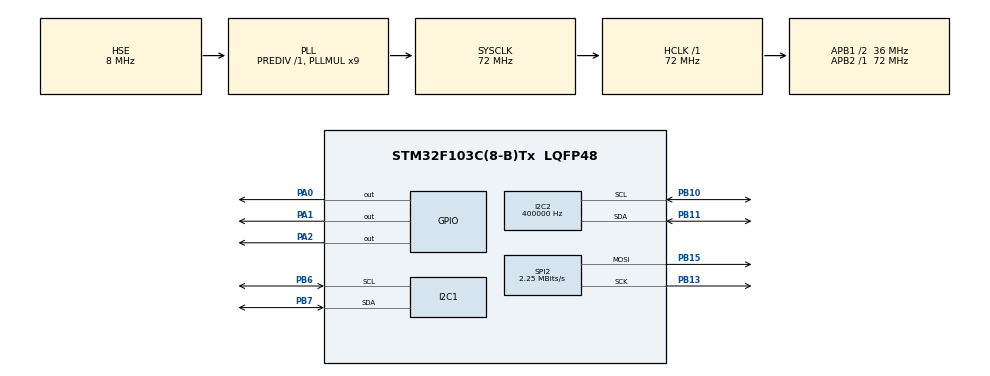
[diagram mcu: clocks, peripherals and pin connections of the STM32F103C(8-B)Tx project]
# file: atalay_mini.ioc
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Mcu.Family=STM32F1
RCC.PLLSourceVirtual=RCC_PLLSOURCE_HSE
PC15-OSC32_OUT.Mode=LSE-External-Oscillator
FREERTOS.Tasks01=Pressure_Unit,24,128,Pressure_Unit_Start,Default,NULL,Dynamic,NULL,NULL;Inertial_Unit,24,128,Inertial_Unit_Start,Default,NULL,Dynamic,NULL,NULL;Decision_Log,48,128,Decision_and_Logger,Default,NULL,Dynamic,NULL,NULL
PD1-OSC_OUT.Mode=HSE-External-Oscillator
SPI2.VirtualType=VM_MASTER
PB10.Mode=I2C
NVIC.TIM1_UP_IRQn=true\:0\:0\:false\:false\:true\:false\:false\:true
PD0-OSC_IN.Signal=RCC_OSC_IN
RCC.APB1CLKDivider=RCC_HCLK_DIV2
PC14-OSC32_IN.Signal=RCC_OSC32_IN
PB11.Signal=I2C2_SDA
PB13.Signal=SPI2_SCK
PB15.Signal=SPI2_MOSI
RCC.SYSCLKSource=RCC_SYSCLKSOURCE_PLLCLK
ProjectManager.StackSize=0x400
PA0-WKUP.Signal=GPIO_Output
VP_FREERTOS_VS_CMSIS_V2.Mode=CMSIS_V2
PD1-OSC_OUT.Signal=RCC_OSC_OUT
PA13.Signal=SYS_JTMS-SWDIO
PB11.Mode=I2C
ProjectManager.TargetToolchain=STM32CubeIDE
I2C1.I2C_Mode=I2C_Standard
RCC.HCLKFreq_Value=72000000
RCC.APB2TimFreq_Value=72000000
PB6.Signal=I2C1_SCL
PB6.Mode=I2C
RCC.USBFreq_Value=72000000
PC15-OSC32_OUT.Signal=RCC_OSC32_OUT
PA1.Signal=GPIO_Output
RCC.AHBFreq_Value=72000000
SPI2.BaudRatePrescaler=SPI_BAUDRATEPRESCALER_16
PD0-OSC_IN.Mode=HSE-External-Oscillator
PB10.Signal=I2C2_SCL
board=custom
RCC.PLLMUL=RCC_PLL_MUL9
PB15.Mode=TX_Only_Simplex_Unidirect_Master
RCC.APB2Freq_Value=72000000
PC14-OSC32_IN.Mode=LSE-External-Oscillator
PA14.Mode=Serial_Wire
VP_SYS_VS_tim1.Mode=TIM1
I2C2.ClockSpeed=400000
SPI2.CalculateBaudRate=2.25 MBits/s
PB7.Signal=I2C1_SDA
PA13.Mode=Serial_Wire
Mcu.Name=STM32F103C(8-B)Tx
PA2.Signal=GPIO_Output
RCC.SYSCLKFreq_VALUE=72000000
Mcu.Package=LQFP48
NVIC.TimeBase=TIM1_UP_IRQn
SPI2.Mode=SPI_MODE_MASTER
PB7.Mode=I2C
NVIC.TimeBaseIP=TIM1
PA14.Signal=SYS_JTCK-SWCLK
ProjectManager.HeapSize=0x200
NVIC.PriorityGroup=NVIC_PRIORITYGROUP_4
RCC.APB1TimFreq_Value=72000000
SPI2.Direction=SPI_DIRECTION_2LINES
PB13.Mode=TX_Only_Simplex_Unidirect_Master
RCC.APB1Freq_Value=36000000
I2C2.I2C_Mode=I2C_Fast

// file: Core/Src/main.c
/* USER CODE BEGIN Header */
/**
  ******************************************************************************
  * @file           : main.c
  * @brief          : Main program body
  ******************************************************************************
  * @attention
  *
  * <h2><center>&copy; Copyright (c) 2021 STMicroelectronics.
  * All rights reserved.</center></h2>
  *
  * This software component is licensed by ST under BSD 3-Clause license,
  * the "License"; You may not use this file except in compliance with the
  * License. You may obtain a copy of the License at:
  *                        opensource.org/licenses/BSD-3-Clause
  *
  ******************************************************************************
  */
/* USER CODE END Header */
#include "main.h"
#include "cmsis_os.h"

/* USER CODE BEGIN Includes */
#include "MPU9250_I2C.h"
#include "bme280.h"
/* USER CODE END Includes */

/* USER CODE BEGIN PTD */
extern I2C_HandleTypeDef hi2c1;
int8_t user_i2c_read(uint8_t dev_addr, uint8_t reg_addr, uint8_t *reg_data, uint8_t cnt);
int8_t user_i2c_write(uint8_t dev_addr, uint8_t reg_addr, uint8_t *reg_data, uint8_t cnt);
int8_t stream_sensor_data_forced_mode(struct bme280_dev *dev);
int8_t stream_sensor_data_normal_mode(struct bme280_dev *dev);
void user_delay_ms(uint32_t ms);
uint8_t humidity;
struct bme280_dev bme280;
struct bme280_data comp_data;
#define atmPress 101325
double pressure, altitude,related_altitude;
double ref_altitude;
uint8_t sendaltitude = 0;
uint8_t spi_flag = 0;
double temp_send_y_axis_acc = 0;
uint8_t send_y_axis = 0;
uint8_t sendbuff[3] = {0};
float attempt = 501;
uint8_t breakout = 0;
float i;
/* USER CODE END P TD */

/* USER CODE BEGIN PM */
double ay = 0;
/* USER CODE END PM */

I2C_HandleTypeDef hi2c1;
I2C_HandleTypeDef hi2c2;

SPI_HandleTypeDef hspi2;

/* Definitions for Pressure_Unit */
osThreadId_t Pressure_UnitHandle;
const osThreadAttr_t Pressure_Unit_attributes = {
  .name = "Pressure_Unit",
  .stack_size = 128 * 4,
  .priority = (osPriority_t) osPriorityNormal,
};
/* Definitions for Inertial_Unit */
osThreadId_t Inertial_UnitHandle;
const osThreadAttr_t Inertial_Unit_attributes = {
  .name = "Inertial_Unit",
  .stack_size = 128 * 4,
  .priority = (osPriority_t) osPriorityNormal,
};
/* Definitions for Decision_Log */
osThreadId_t Decision_LogHandle;
const osThreadAttr_t Decision_Log_attributes = {
  .name = "Decision_Log",
  .stack_size = 128 * 4,
  .priority = (osPriority_t) osPriorityRealtime,
};

void SystemClock_Config(void);
static void MX_GPIO_Init(void);
static void MX_I2C1_Init(void);
static void MX_I2C2_Init(void);
static void MX_SPI2_Init(void);
void Pressure_Unit_Start(void *argument);
void Inertial_Unit_Start(void *argument);
void Decision_and_Logger(void *argument);

int main(void)
{

  /* MCU Configuration--------------------------------------------------------*/

  /* Reset of all peripherals, Initializes the Flash interface and the Systick. */
  HAL_Init();

  /* Configure the system clock */
  SystemClock_Config();

  /* Initialize all configured peripherals */
  MX_GPIO_Init();
  MX_I2C1_Init();
  MX_I2C2_Init();
  MX_SPI2_Init();
  /* USER CODE BEGIN 2 */
  HAL_GPIO_WritePin(GPIOA, GPIO_PIN_0, GPIO_PIN_RESET);
  HAL_GPIO_WritePin(GPIOA, GPIO_PIN_1, GPIO_PIN_RESET);
  HAL_GPIO_WritePin(GPIOA, GPIO_PIN_2, GPIO_PIN_RESET);  /* USER CODE END 2 */

  /* Init scheduler */
  osKernelInitialize();

  /* Create the thread(s) */
  /* creation of Pressure_Unit */
  Pressure_UnitHandle = osThreadNew(Pressure_Unit_Start, NULL, &Pressure_Unit_attributes);

  /* creation of Inertial_Unit */
  Inertial_UnitHandle = osThreadNew(Inertial_Unit_Start, NULL, &Inertial_Unit_attributes);

  /* creation of Decision_Log */
  Decision_LogHandle = osThreadNew(Decision_and_Logger, NULL, &Decision_Log_attributes);

  /* Start scheduler */
  osKernelStart();

  /* We should never get here as control is now taken by the scheduler */
  /* Infinite loop */
  while (1)
  {

  }
}

void SystemClock_Config(void)
{
  RCC_OscInitTypeDef RCC_OscInitStruct = {0};
  RCC_ClkInitTypeDef RCC_ClkInitStruct = {0};

  /** Initializes the RCC Oscillators according to the specified parameters
  * in the RCC_OscInitTypeDef structure.
  */
  RCC_OscInitStruct.OscillatorType = RCC_OSCILLATORTYPE_HSE;
  RCC_OscInitStruct.HSEState = RCC_HSE_ON;
  RCC_OscInitStruct.HSEPredivValue = RCC_HSE_PREDIV_DIV1;
  RCC_OscInitStruct.HSIState = RCC_HSI_ON;
  RCC_OscInitStruct.PLL.PLLState = RCC_PLL_ON;
  RCC_OscInitStruct.PLL.PLLSource = RCC_PLLSOURCE_HSE;
  RCC_OscInitStruct.PLL.PLLMUL = RCC_PLL_MUL9;
  if (HAL_RCC_OscConfig(&RCC_OscInitStruct) != HAL_OK)
  {
    Error_Handler();
  }
  /** Initializes the CPU, AHB and APB buses clocks
  */
  RCC_ClkInitStruct.ClockType = RCC_CLOCKTYPE_HCLK|RCC_CLOCKTYPE_SYSCLK
                              |RCC_CLOCKTYPE_PCLK1|RCC_CLOCKTYPE_PCLK2;
  RCC_ClkInitStruct.SYSCLKSource = RCC_SYSCLKSOURCE_PLLCLK;
  RCC_ClkInitStruct.AHBCLKDivider = RCC_SYSCLK_DIV1;
  RCC_ClkInitStruct.APB1CLKDivider = RCC_HCLK_DIV2;
  RCC_ClkInitStruct.APB2CLKDivider = RCC_HCLK_DIV1;

  if (HAL_RCC_ClockConfig(&RCC_ClkInitStruct, FLASH_LATENCY_2) != HAL_OK)
  {
    Error_Handler();
  }
}

static void MX_I2C1_Init(void)
{

  hi2c1.Instance = I2C1;
  hi2c1.Init.ClockSpeed = 100000;
  hi2c1.Init.DutyCycle = I2C_DUTYCYCLE_2;
  hi2c1.Init.OwnAddress1 = 0;
  hi2c1.Init.AddressingMode = I2C_ADDRESSINGMODE_7BIT;
  hi2c1.Init.DualAddressMode = I2C_DUALADDRESS_DISABLE;
  hi2c1.Init.OwnAddress2 = 0;
  hi2c1.Init.GeneralCallMode = I2C_GENERALCALL_DISABLE;
  hi2c1.Init.NoStretchMode = I2C_NOSTRETCH_DISABLE;
  if (HAL_I2C_Init(&hi2c1) != HAL_OK)
  {
    Error_Handler();
  }

}

static void MX_I2C2_Init(void)
{

  hi2c2.Instance = I2C2;
  hi2c2.Init.ClockSpeed = 400000;
  hi2c2.Init.DutyCycle = I2C_DUTYCYCLE_2;
  hi2c2.Init.OwnAddress1 = 0;
  hi2c2.Init.AddressingMode = I2C_ADDRESSINGMODE_7BIT;
  hi2c2.Init.DualAddressMode = I2C_DUALADDRESS_DISABLE;
  hi2c2.Init.OwnAddress2 = 0;
  hi2c2.Init.GeneralCallMode = I2C_GENERALCALL_DISABLE;
  hi2c2.Init.NoStretchMode = I2C_NOSTRETCH_DISABLE;
  if (HAL_I2C_Init(&hi2c2) != HAL_OK)
  {
    Error_Handler();
  }

}

static void MX_SPI2_Init(void)
{

  /* SPI2 parameter configuration*/
  hspi2.Instance = SPI2;
  hspi2.Init.Mode = SPI_MODE_MASTER;
  hspi2.Init.Direction = SPI_DIRECTION_2LINES;
  hspi2.Init.DataSize = SPI_DATASIZE_8BIT;
  hspi2.Init.CLKPolarity = SPI_POLARITY_LOW;
  hspi2.Init.CLKPhase = SPI_PHASE_1EDGE;
  hspi2.Init.NSS = SPI_NSS_SOFT;
  hspi2.Init.BaudRatePrescaler = SPI_BAUDRATEPRESCALER_16;
  hspi2.Init.FirstBit = SPI_FIRSTBIT_MSB;
  hspi2.Init.TIMode = SPI_TIMODE_DISABLE;
  hspi2.Init.CRCCalculation = SPI_CRCCALCULATION_DISABLE;
  hspi2.Init.CRCPolynomial = 10;
  if (HAL_SPI_Init(&hspi2) != HAL_OK)
  {
    Error_Handler();
  }

}

static void MX_GPIO_Init(void)
{
  GPIO_InitTypeDef GPIO_InitStruct = {0};

  /* GPIO Ports Clock Enable */
  __HAL_RCC_GPIOC_CLK_ENABLE();
  __HAL_RCC_GPIOD_CLK_ENABLE();
  __HAL_RCC_GPIOA_CLK_ENABLE();
  __HAL_RCC_GPIOB_CLK_ENABLE();

  /*Configure GPIO pin Output Level */
  HAL_GPIO_WritePin(GPIOA, GPIO_PIN_0|GPIO_PIN_1|GPIO_PIN_2, GPIO_PIN_RESET);

  /*Configure GPIO pins : PA0 PA1 PA2 */
  GPIO_InitStruct.Pin = GPIO_PIN_0|GPIO_PIN_1|GPIO_PIN_2;
  GPIO_InitStruct.Mode = GPIO_MODE_OUTPUT_PP;
  GPIO_InitStruct.Pull = GPIO_NOPULL;
  GPIO_InitStruct.Speed = GPIO_SPEED_FREQ_LOW;
  HAL_GPIO_Init(GPIOA, &GPIO_InitStruct);

}

/* USER CODE BEGIN 4 */

void my_print_readings(void)
{
int8_t rslt = BME280_OK;
bme280.dev_id = BME280_I2C_ADDR_SEC;
bme280.intf = BME280_I2C_INTF;
bme280.read = (void *)user_i2c_read;
bme280.write = (void *)user_i2c_write;
bme280.delay_ms = (void *)user_delay_ms;
rslt = bme280_init(&bme280);
printf("init result %d\r\n", rslt);

printf("starting readings.\r\n");
stream_sensor_data_forced_mode(&bme280);
}

void print_sensor_data(struct bme280_data *comp_data)
{
  #ifdef BME280_FLOAT_ENABLE

  #else

  #endif
}

int8_t stream_sensor_data_forced_mode(struct bme280_dev *dev)
{
int8_t rslt;
uint8_t settings_sel;

dev->settings.osr_h = BME280_OVERSAMPLING_2X;
dev->settings.osr_p = BME280_OVERSAMPLING_4X;
dev->settings.osr_t = BME280_OVERSAMPLING_4X;
dev->settings.filter = BME280_FILTER_COEFF_2;

settings_sel = BME280_OSR_PRESS_SEL | BME280_OSR_TEMP_SEL | BME280_OSR_HUM_SEL | BME280_FILTER_SEL;

rslt = bme280_set_sensor_settings(settings_sel, dev);

/* Continuously stream sensor data */

  rslt = bme280_set_sensor_mode(BME280_FORCED_MODE, dev);
  /* Wait for the measurement to complete and print data @25Hz */
  dev->delay_ms(30);
  rslt = bme280_get_sensor_data(BME280_ALL, &comp_data, dev);
  print_sensor_data(&comp_data);
  pressure = comp_data.pressure;
  altitude = (44330*(1-(pow((pressure/(float)atmPress), 0.19029495718))));
  dev->delay_ms(30);
  return rslt;
}

int8_t stream_sensor_data_normal_mode(struct bme280_dev *dev)
{
int8_t rslt;
uint8_t settings_sel;
struct bme280_data comp_data;

/* Recommended mode of operation: Indoor navigation */
dev->settings.osr_h = BME280_OVERSAMPLING_1X;
dev->settings.osr_p = BME280_OVERSAMPLING_1X;
dev->settings.osr_t = BME280_OVERSAMPLING_1X;
dev->settings.filter = BME280_FILTER_COEFF_16;
dev->settings.standby_time = BME280_STANDBY_TIME_62_5_MS;

settings_sel = BME280_OSR_PRESS_SEL;
settings_sel |= BME280_OSR_TEMP_SEL;
settings_sel |= BME280_OSR_HUM_SEL;
settings_sel |= BME280_STANDBY_SEL;
settings_sel |= BME280_FILTER_SEL;
rslt = bme280_set_sensor_settings(settings_sel, dev);
rslt = bme280_set_sensor_mode(BME280_NORMAL_MODE, dev);

while (1) {
  /* Delay while the sensor completes a measurement */
  dev->delay_ms(140);
  rslt = bme280_get_sensor_data(BME280_ALL, &comp_data, dev);
  print_sensor_data(&comp_data);
}

return rslt;
}

void user_delay_ms(uint32_t ms)
{
HAL_Delay(ms);
}

int8_t user_i2c_write(uint8_t dev_addr, uint8_t reg_addr, uint8_t *reg_data, uint8_t cnt)
{
HAL_StatusTypeDef status = HAL_OK;

status = HAL_I2C_Mem_Write(&hi2c2, dev_addr<<1, reg_addr, I2C_MEMADD_SIZE_8BIT, reg_data, cnt, 0xffff);

if (status == HAL_OK)
  return(0);
else
  return(-1);
}

int8_t user_i2c_read(uint8_t dev_addr, uint8_t reg_addr, uint8_t *reg_data, uint8_t cnt)
{
HAL_StatusTypeDef status = HAL_OK;

status = HAL_I2C_Mem_Read(&hi2c2, dev_addr<<1, reg_addr, I2C_MEMADD_SIZE_8BIT, reg_data, cnt, 0xffff);

if (status == HAL_OK)
  return(0);
else
  return(-1);
}
/* USER CODE END 4 */

void Pressure_Unit_Start(void *argument)
{
  my_print_readings();
  ref_altitude = altitude;
  /* USER CODE BEGIN 5 */
  /* Infinite loop */
  for(;;)
  {
	my_print_readings();
	related_altitude = altitude - ref_altitude;
	sendaltitude = related_altitude/4;
	sendbuff[1] = sendaltitude;
    osDelay(1);
  }
  /* USER CODE END 5 */
}

void Inertial_Unit_Start(void *argument)
{
  /* USER CODE BEGIN Inertial_Unit_Start */
  /* Infinite loop */
	struct mpuSensorData sensorData;
	char outdata[100];
	struct DPL{
	int16_t h1;
	int16_t h2;
	struct mpuSensorData Data;
	};
	union{
	struct DPL Data;
	uint8_t buffer[24];
	}Packet;
  for(;;)
  {
    mpuReadSensor(&sensorData);
    Packet.Data.Data=sensorData;
	ay=sensorData.ay;
	temp_send_y_axis_acc = ay/1683.5699797160243407707910750507;
	if(ay < -1)
	{
	temp_send_y_axis_acc = (temp_send_y_axis_acc) * (-1);
	}
	send_y_axis = temp_send_y_axis_acc;
	sendbuff[0] = send_y_axis;
	osDelay(1);
  }
  /* USER CODE END Inertial_Unit_Start */
}

void Decision_and_Logger(void *argument)
{
	sendbuff[2] = breakout;

  /* USER CODE BEGIN Decision_and_Logger */
  /* Infinite loop */
  for(;;)
  {
	  if(ay != 0)
	  {
		  HAL_GPIO_WritePin(GPIOA, GPIO_PIN_2, GPIO_PIN_SET);
	  }

	  if(related_altitude>500)
	  {
		  HAL_Delay(3000);
		  breakout = 1;
		  HAL_GPIO_WritePin(GPIOA, GPIO_PIN_0, GPIO_PIN_SET);
	  }
	  else
	  {
		  HAL_GPIO_WritePin(GPIOA, GPIO_PIN_0, GPIO_PIN_RESET);
	  }

	  if(related_altitude<500 && related_altitude != 0 && altitude != 44330)
	  {
		  HAL_GPIO_WritePin(GPIOA, GPIO_PIN_1, GPIO_PIN_SET);
	  }
	  else
	  {
		  HAL_GPIO_WritePin(GPIOA, GPIO_PIN_1, GPIO_PIN_RESET);
	  }

	  HAL_SPI_Transmit(&hspi2, sendbuff, sizeof(sendbuff), 100);

	  if(HAL_SPI_Transmit(&hspi2, sendbuff, sizeof(sendbuff), 100)==HAL_OK)
	  {
		  spi_flag = 1;
	  }
    osDelay(1);
  }
  /* USER CODE END Decision_and_Logger */
}

 /**
  * @brief  Period elapsed callback in non blocking mode
  * @note   This function is called  when TIM1 interrupt took place, inside
  * HAL_TIM_IRQHandler(). It makes a direct call to HAL_IncTick() to increment
  * a global variable "uwTick" used as application time base.
  * @param  htim : TIM handle
  * @retval None
  */
void HAL_TIM_PeriodElapsedCallback(TIM_HandleTypeDef *htim)
{
  if (htim->Instance == TIM1) {
    HAL_IncTick();
  }
}

void Error_Handler(void)
{
  __disable_irq();
  while (1)
  {
  }
}

/************************ (C) COPYRIGHT STMicroelectronics *****END OF FILE****/
